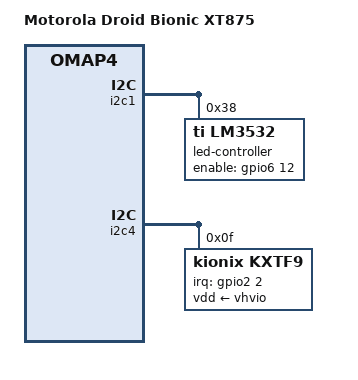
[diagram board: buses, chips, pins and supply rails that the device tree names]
// SPDX-License-Identifier: GPL-2.0-only
/dts-v1/;

#include "motorola-mapphone-xt8xx.dtsi"

/ {
	model = "Motorola Droid Bionic XT875";
	compatible = "motorola,droid-bionic", "ti,omap4430", "ti,omap4";

	chosen {
		stdout-path = &uart3;
	};

	aliases {
		display0 = &lcd0;
		display1 = &hdmi0;
	};
};

&keypad {
	keypad,num-rows = <8>;
	keypad,num-columns = <8>;
	linux,keymap = <
	MATRIX_KEY(5, 0, KEY_VOLUMEUP)
	MATRIX_KEY(3, 0, KEY_VOLUMEDOWN)
	>;
};

&i2c1 {
	led-controller@38 {
		compatible = "ti,lm3532";
		#address-cells = <1>;
		#size-cells = <0>;
		reg = <0x38>;

		enable-gpios = <&gpio6 12 GPIO_ACTIVE_HIGH>;

		ramp-up-us = <1024>;
		ramp-down-us = <8193>;

		backlight_led: led@0 {
			reg = <0>;
			led-sources = <2>;
			ti,led-mode = <0>;
			label = ":backlight";
		};
	};
};

&i2c4 {
	kxtf9: accelerometer@f {
		compatible = "kionix,kxtf9";
		reg = <0x0f>;

		vdd-supply = <&vhvio>;

		interrupt-parent = <&gpio2>;
		interrupts = <2 IRQ_TYPE_EDGE_RISING>;

		rotation-matrix = "0", "-1", "0",
				  "1", "0", "0",
				  "0", "0", "1";
	};
};
